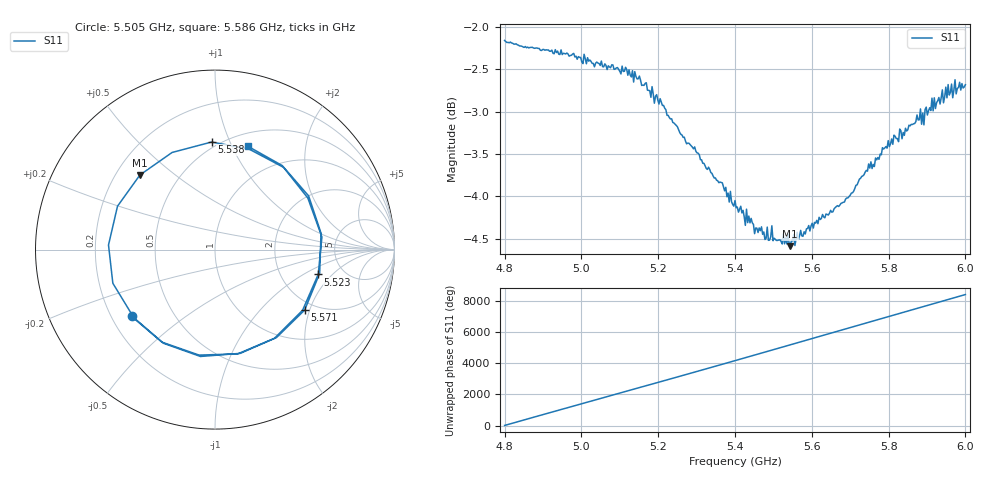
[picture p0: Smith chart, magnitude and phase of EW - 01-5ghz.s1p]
! NanoVNA-App
! Date: 2026-05-22 15:59:19
! Start: 4.8GHz Stop: 6GHz Points: 401
! S-Parameter data: F S11
# Hz S RI R 50
!  Frequency  S11_Real  S11_Imag
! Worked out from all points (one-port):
!   401 points, 4.8 GHz to 6 GHz, reference 50 ohm
!   lowest |S11| = -4.6 dB at 5.544 GHz (marker M1), VSWR 3.87, Z = 14.9 + j19 ohm
!   |S11| at or under -10 dB: nowhere
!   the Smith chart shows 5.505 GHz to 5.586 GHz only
!   S11 on the Smith chart (normalised r, x): 5.505 GHz: 0.28, -0.33; 5.523 GHz: 3.26, -1.39; 5.538 GHz: 0.46, +0.86; 5.571 GHz: 1.75, -1.85; 5.586 GHz: 0.64, +1.16
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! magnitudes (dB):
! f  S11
! 4.8 GHz  -2.2
! 4.95 GHz  -2.3
! 5.1 GHz  -2.5
! 5.145 GHz  -2.6
! 5.211 GHz  -2.9
! 5.25 GHz  -3.2
! 5.271 GHz  -3.3
! 5.301 GHz  -3.5
! 5.322 GHz  -3.6
! 5.37 GHz  -3.9
! 5.4 GHz  -4.0
! 5.436 GHz  -4.2
! 5.454 GHz  -4.4
! 5.505 GHz  -4.5
! 5.523 GHz  -4.6
! 5.538 GHz  -4.4
! 5.544 GHz  -4.6
! 5.55 GHz  -4.5
! 5.571 GHz  -4.4
! 5.586 GHz  -4.4
! 5.7 GHz  -4.0
! 5.748 GHz  -3.6
! 5.763 GHz  -3.6
! 5.793 GHz  -3.4
! 5.85 GHz  -3.2
! 5.886 GHz  -3.1
! 5.955 GHz  -2.7
! 6 GHz  -2.7
